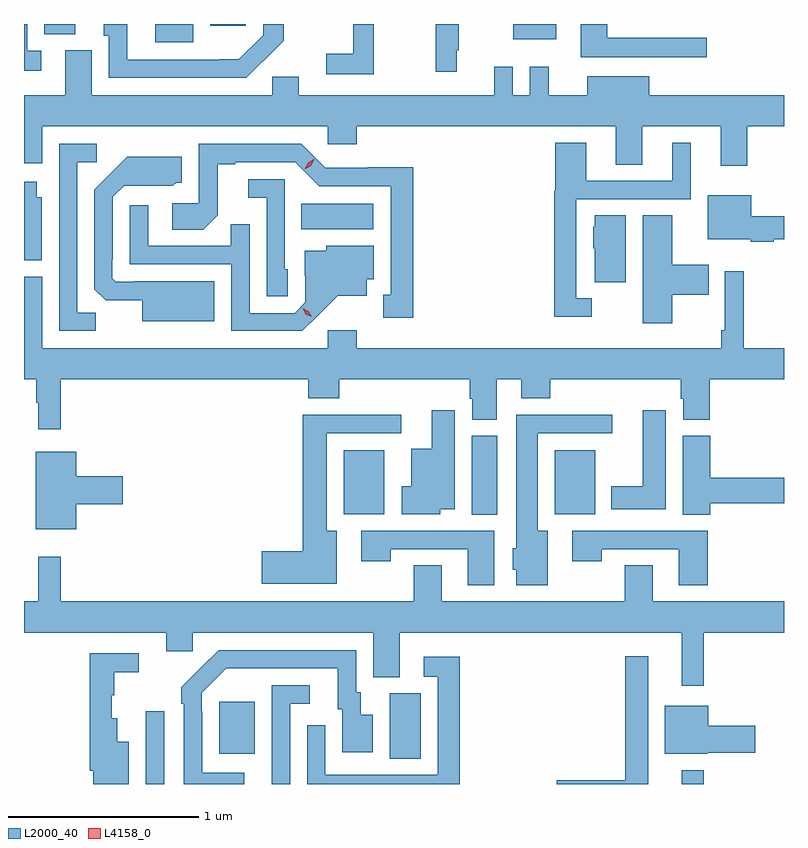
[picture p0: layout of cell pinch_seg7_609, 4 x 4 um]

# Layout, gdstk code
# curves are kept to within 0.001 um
import gdstk
lib = gdstk.Library(unit=1e-6, precision=1e-09)
def R(c, l, rs):  # rectangles x0, y0, x1, y1
    for r in rs: c.add(gdstk.rectangle(r[:2], r[2:], *l))
def P(c, l, *ps):  # polygons
    for p in ps: c.add(gdstk.Polygon(p, *l))
L2000_40 = (2000, 40)
L4158_0 = (4158, 0)

pinch_seg7_609 = lib.new_cell('pinch_seg7_609')
R(pinch_seg7_609, L2000_40, [(137.661,1021.131,137.757,1021.513), (140.483,1021.131,140.597,1021.204), (138.944,1021.264,139.108,1021.608), (138.047,1021.289,138.235,1021.564), (139.376,1022.548,139.51,1022.964), (138.704,1022.552,138.916,1022.887), (139.814,1022.552,140.026,1022.887), (138.478,1024.052,138.859,1024.186), (139.596,1025.051,139.822,1025.131), (137.126,1025.077,137.29,1025.131), (137.999,1025.121,138.187,1025.131)])
P(pinch_seg7_609, L2000_40, [(137.11,1024.989),(137.037,1024.989),(137.037,1025.131),(137.02,1025.131),(137.02,1024.884),(137.11,1024.884)],
  [(138.862,1025.131),(138.752,1025.131),(138.752,1024.975),(138.612,1024.975),(138.612,1024.866),(138.862,1024.866)],
  [(137.91,1025.131),(137.814,1025.131),(137.814,1025.13),(137.712,1025.13),(137.712,1025.034),(137.91,1025.034)],
  [(140.614,1025.059),(140.089,1025.059),(140.089,1025.131),(139.949,1025.131),(139.949,1024.955),(140.614,1024.955)],
  [(139.298,1024.993),(139.309,1024.993),(139.309,1025.131),(139.188,1025.131),(139.188,1024.881),(139.298,1024.881)],
  [(138.281,1024.939),(138.282,1024.938),(138.387,1025.043),(138.387,1025.131),(138.279,1025.131),(138.279,1025.073),(138.151,1024.945),(138.047,1024.944),(137.563,1024.944),(137.563,1025.131),(137.441,1025.131),(137.441,1025.07),(137.466,1025.07),(137.466,1024.848),(138.19,1024.848)],
  [(140.827,1024.592),(141.02,1024.592),(141.02,1024.756),(140.311,1024.756),(140.311,1024.855),(139.985,1024.855),(139.985,1024.756),(139.781,1024.756),(139.781,1024.906),(139.683,1024.906),(139.683,1024.756),(139.593,1024.756),(139.593,1024.906),(139.496,1024.906),(139.496,1024.756),(138.466,1024.756),(138.466,1024.854),(138.327,1024.854),(138.327,1024.756),(137.377,1024.756),(137.377,1024.992),(137.237,1024.992),(137.237,1024.756),(137.02,1024.756),(137.02,1024.398),(137.116,1024.398),(137.116,1024.592),(138.618,1024.592),(138.618,1024.499),(138.77,1024.499),(138.77,1024.592),(140.135,1024.592),(140.135,1024.39),(140.275,1024.39),(140.275,1024.592),(140.687,1024.592),(140.687,1024.386),(140.827,1024.386)],
  [(140.008,1023.687),(139.926,1023.687),(139.926,1024.209),(140.53,1024.209),(140.53,1024.507),(140.432,1024.507),(140.432,1024.305),(139.978,1024.305),(139.978,1024.507),(139.817,1024.507),(139.817,1024.254),(139.81,1024.254),(139.81,1023.59),(140.008,1023.59)],
  [(139.069,1024.376),(138.828,1024.376),(138.828,1024.374),(138.606,1024.374),(138.48,1024.5),(137.94,1024.5),(137.94,1024.188),(137.799,1024.188),(137.799,1024.048),(137.963,1024.048),(138.039,1024.124),(138.039,1024.392),(138.133,1024.392),(138.133,1024.404),(138.447,1024.404),(138.573,1024.278),(138.95,1024.278),(138.95,1023.705),(138.911,1023.705),(138.911,1023.585),(139.069,1023.585)],
  [(137.397,1023.611),(137.301,1023.611),(137.301,1024.404),(137.404,1024.404),(137.404,1024.5),(137.205,1024.5),(137.205,1023.516),(137.397,1023.516)],
  [(138.022,1023.778),(137.602,1023.778),(137.602,1023.774),(137.502,1023.774),(137.484,1023.792),(137.484,1023.892),(137.487,1023.892),(137.487,1024.221),(137.547,1024.281),(137.804,1024.28),(137.82,1024.296),(137.851,1024.296),(137.851,1024.432),(137.563,1024.432),(137.391,1024.258),(137.391,1023.736),(137.45,1023.677),(137.642,1023.677),(137.642,1023.566),(138.022,1023.566)],
  [(138.408,1023.84),(138.393,1023.84),(138.393,1024.314),(138.201,1024.314),(138.201,1024.217),(138.297,1024.217),(138.297,1023.697),(138.408,1023.697)],
  [(137.113,1024.218),(137.086,1024.218),(137.086,1024.3),(137.02,1024.3),(137.02,1023.887),(137.113,1023.887)],
  [(140.966,1023.998),(141.02,1023.998),(141.02,1024.12),(140.848,1024.12),(140.848,1024.231),(140.618,1024.231),(140.618,1023.998),(140.844,1023.998),(140.844,1023.986),(140.966,1023.986)],
  [(138.568,1023.599),(138.671,1023.701),(138.823,1023.701),(138.823,1023.788),(138.862,1023.788),(138.862,1023.964),(138.612,1023.964),(138.612,1023.937),(138.497,1023.937),(138.497,1023.808),(138.501,1023.808),(138.501,1023.666),(138.444,1023.609),(138.207,1023.609),(138.207,1024.076),(138.109,1024.076),(138.109,1023.963),(137.673,1023.963),(137.673,1024.177),(137.577,1024.177),(137.577,1023.867),(138.111,1023.867),(138.111,1023.516),(138.484,1023.516)],
  [(140.188,1024.124),(140.024,1024.124),(140.024,1024.065),(140.015,1024.065),(140.015,1023.951),(140.024,1023.951),(140.024,1023.771),(140.188,1023.771)],
  [(140.431,1023.707),(140.624,1023.707),(140.624,1023.865),(140.431,1023.865),(140.431,1024.124),(140.276,1024.124),(140.276,1023.555),(140.431,1023.555)],
  [(137.213,1023.26),(138.515,1023.26),(138.515,1023.161),(138.68,1023.161),(138.68,1023.26),(139.367,1023.26),(139.367,1023.159),(139.379,1023.159),(139.379,1023.049),(139.507,1023.049),(139.507,1023.26),(139.637,1023.26),(139.637,1023.161),(139.79,1023.161),(139.79,1023.26),(140.477,1023.26),(140.477,1023.159),(140.489,1023.159),(140.489,1023.049),(140.63,1023.049),(140.63,1023.26),(141.02,1023.26),(141.02,1023.424),(140.808,1023.424),(140.808,1023.829),(140.709,1023.829),(140.709,1023.52),(140.689,1023.52),(140.689,1023.424),(138.77,1023.424),(138.77,1023.52),(138.618,1023.52),(138.618,1023.424),(137.116,1023.424),(137.116,1023.802),(137.02,1023.802),(137.02,1023.26),(137.085,1023.26),(137.085,1023.137),(137.096,1023.137),(137.096,1022.997),(137.213,1022.997)],
  [(139.212,1022.576),(139.288,1022.576),(139.288,1023.097),(139.166,1023.097),(139.166,1022.896),(139.058,1022.896),(139.058,1022.698),(139.007,1022.698),(139.007,1022.552),(139.212,1022.552)],
  [(140.398,1023.097),(140.276,1023.097),(140.276,1022.698),(140.111,1022.698),(140.111,1022.576),(140.398,1022.576)],
  [(138.667,1022.464),(138.613,1022.464),(138.613,1022.976),(139.006,1022.976),(139.006,1023.074),(138.488,1023.074),(138.488,1022.357),(138.27,1022.357),(138.27,1022.186),(138.667,1022.186)],
  [(139.777,1022.464),(139.723,1022.464),(139.723,1022.976),(140.116,1022.976),(140.116,1023.074),(139.61,1023.074),(139.61,1022.373),(139.592,1022.373),(139.592,1022.259),(139.61,1022.259),(139.61,1022.178),(139.777,1022.178)],
  [(140.633,1022.608),(141.02,1022.608),(141.02,1022.744),(140.633,1022.744),(140.633,1022.964),(140.486,1022.964),(140.486,1022.548),(140.633,1022.548)],
  [(137.296,1022.603),(137.539,1022.603),(137.539,1022.75),(137.296,1022.75),(137.296,1022.881),(137.081,1022.881),(137.081,1022.471),(137.296,1022.471)],
  [(139.495,1022.463),(138.795,1022.463),(138.795,1022.304),(138.951,1022.304),(138.951,1022.367),(139.355,1022.367),(139.355,1022.178),(139.495,1022.178)],
  [(140.618,1022.463),(139.905,1022.463),(139.905,1022.304),(140.061,1022.304),(140.061,1022.367),(140.465,1022.367),(140.465,1022.178),(140.618,1022.178)],
  [(137.768,1021.83),(137.907,1021.83),(137.907,1021.928),(138.857,1021.928),(138.857,1021.693),(138.997,1021.693),(138.997,1021.928),(140.483,1021.928),(140.483,1021.647),(140.597,1021.647),(140.597,1021.928),(141.02,1021.928),(141.02,1022.092),(140.329,1022.092),(140.329,1022.282),(140.182,1022.282),(140.182,1022.092),(139.219,1022.092),(139.219,1022.282),(139.072,1022.282),(139.072,1022.092),(137.213,1022.092),(137.213,1022.326),(137.096,1022.326),(137.096,1022.092),(137.02,1022.092),(137.02,1021.928),(137.768,1021.928)],
  [(138.178,1021.191),(137.958,1021.191),(137.958,1021.511),(137.955,1021.511),(137.955,1021.611),(138.084,1021.74),(138.671,1021.74),(138.671,1021.524),(138.695,1021.524),(138.695,1021.299),(138.856,1021.299),(138.856,1021.495),(138.793,1021.495),(138.793,1021.614),(138.768,1021.614),(138.768,1021.836),(138.044,1021.836),(137.847,1021.641),(137.847,1021.553),(137.862,1021.553),(137.862,1021.131),(138.178,1021.131)],
  [(137.572,1021.354),(137.512,1021.354),(137.512,1021.477),(137.483,1021.477),(137.483,1021.599),(137.494,1021.599),(137.494,1021.72),(137.623,1021.72),(137.623,1021.818),(137.365,1021.818),(137.365,1021.201),(137.384,1021.201),(137.384,1021.131),(137.572,1021.131)],
  [(140.305,1021.804),(140.184,1021.804),(140.184,1021.151),(139.824,1021.151),(139.824,1021.131),(140.305,1021.131)],
  [(139.313,1021.801),(139.125,1021.801),(139.125,1021.695),(139.197,1021.695),(139.197,1021.179),(138.606,1021.179),(138.606,1021.441),(138.51,1021.441),(138.51,1021.186),(138.511,1021.186),(138.511,1021.131),(139.313,1021.131)],
  [(138.42,1021.554),(138.523,1021.554),(138.523,1021.65),(138.324,1021.65),(138.324,1021.193),(138.323,1021.193),(138.323,1021.131),(138.42,1021.131)],
  [(140.616,1021.295),(140.869,1021.295),(140.869,1021.437),(140.62,1021.437),(140.62,1021.543),(140.393,1021.543),(140.393,1021.289),(140.616,1021.289)])
P(pinch_seg7_609, L4158_0, [(138.497,1024.367),(138.497,1024.367),(138.515,1024.4),(138.546,1024.419),(138.547,1024.419),(138.547,1024.419),(138.529,1024.386),(138.497,1024.367)],
  [(138.534,1023.589),(138.503,1023.604),(138.486,1023.634),(138.486,1023.634),(138.486,1023.634),(138.517,1023.619),(138.534,1023.589),(138.534,1023.589)])

lib.write_gds('pinch_seg7_609.gds')
